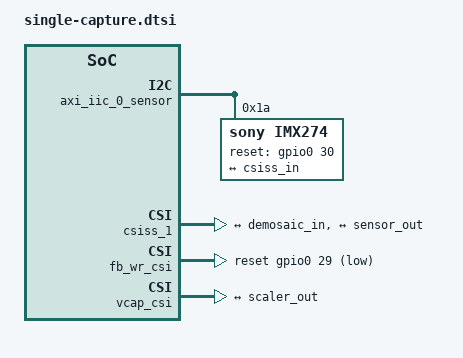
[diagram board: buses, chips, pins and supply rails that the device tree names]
#include <dt-bindings/media/xilinx-vip.h>

/ {
	amba_pl: amba_pl@0 {
		#address-cells = <2>;
		#size-cells = <2>;
		compatible = "simple-bus";
		ranges ;

		axi_iic_0_sensor: i2c@a4070000 {
			#address-cells = <1>;
			#size-cells = <0>;
			compatible = "xlnx,axi-iic-2.0", "xlnx,xps-iic-2.00.a";
		        interrupt-names = "iic2intc_irpt";
			interrupt-parent = <&gic>;
			interrupts = <0 91 4>;
			reg = <0x0 0xa4070000 0x0 0x10000>;
		        clock-names = "s_axi_aclk";
			clocks = <&misc_clk_4>;

			imx274: sensor@1a{
				compatible = "sony,imx274";
				reg = <0x1a>;
				#address-cells = <1>;
				#size-cells = <0>;
				reset-gpios = <&gpio0 30 0>;

				port@0 {
					reg = <0>;

					sensor_out: endpoint {
						remote-endpoint = <&csiss_in>;
					};
				};
			};
		};

		csiss_1: csiss@a4060000 {
			compatible = "xlnx,mipi-csi2-rx-subsystem-5.0";
			reg = <0x0 0xa4060000 0x0 0x10000>;
			clock-names = "lite_aclk", "dphy_clk_200M", "video_aclk";
			clocks = <&misc_clk_4>, <&misc_clk_5>, <&misc_clk_0>;
			interrupt-parent = <&gic>;
			interrupts = <0 90 4>;

			xlnx,csi-pxl-format = "RAW10";
			xlnx,axis-tdata-width = <0x20>;
			xlnx,max-lanes = <0x4>;
			xlnx,en-active-lanes;
			xlnx,vc = <0x4>;
			xlnx,ppc = <0x4>;
			xlnx,vfb;

			ports {
				#address-cells = <1>;
				#size-cells = <0>;

				port@0 {
					reg = <0>;

					xlnx,video-format = <XVIP_VF_MONO_SENSOR>;
					xlnx,video-width = <8>;
					xlnx,cfa-pattern = "rggb";

					csiss_out: endpoint {
						remote-endpoint = <&demosaic_in>;
					};
				};
				port@1 {
					reg = <1>;

					xlnx,video-format = <XVIP_VF_MONO_SENSOR>;
					xlnx,video-width = <8>;
					xlnx,cfa-pattern = "rggb";

					csiss_in: endpoint {
						data-lanes = <1 2 3 4>;
						remote-endpoint = <&sensor_out>;
					};
				};
			};
		};

		v_demosaic_0: v_demosaic@a40c0000 {
			compatible = "xlnx,v-demosaic";
			reg = <0x0 0xa40c0000 0x0 0x10000>;
			clocks = <&misc_clk_0>;
			reset-gpios = <&gpio0 27 1>;
			xlnx,max-width = <3840>;
			xlnx,max-height = <2160>;

			ports {
				#address-cells = <1>;
				#size-cells = <0>;

				port@0 {
					reg = <0>;

					xlnx,video-width = <8>;
					xlnx,cfa-pattern = "rggb";

					demosaic_in: endpoint {
						remote-endpoint = <&csiss_out>;
					};
				};

				port@1 {
					reg = <1>;

					xlnx,video-width = <8>;

					demosaic_out: endpoint {
						remote-endpoint = <&scaler_in>;
					};
				};
			};
		};

		scaler_1: scaler@a4080000 {
			compatible = "xlnx,v-vpss-scaler-2.2";
			reg = <0x0 0xa4080000 0x0 0x40000>;
			clock-names = "aclk_axis", "aclk_ctrl";
			clocks = <&misc_clk_0>, <&misc_clk_0>;
			xlnx,num-hori-taps = <6>;
			xlnx,num-vert-taps = <6>;
			xlnx,pix-per-clk = <4>;
			reset-gpios = <&gpio0 28 1>;
			xlnx,max-width = <3840>;
			xlnx,max-height = <2160>;

			ports {
				#address-cells = <1>;
				#size-cells = <0>;

				port@0 {
					reg = <0>;
					xlnx,video-format = <XVIP_VF_RBG>;
					xlnx,video-width = <8>;

					scaler_in: endpoint {
						remote-endpoint = <&demosaic_out>;
					};
				};
				port@1 {
					reg = <1>;
					xlnx,video-format = <XVIP_VF_YUV_422>;
					xlnx,video-width = <8>;

					scaler_out: endpoint {
						remote-endpoint = <&vcap_csi_in>;
					};
				};
			};
		};

		fb_wr_csi: fb_wr@a40d0000 {
			compatible = "xlnx,axi-frmbuf-wr-v2.1";
			reg = <0x0 0xa40d0000 0x0 0x10000>;
			#dma-cells = <1>;
			interrupt-parent = <&gic>;
			interrupts = <0 92 4>;
			xlnx,vid-formats = "yuyv", "bgr888";
			reset-gpios = <&gpio0 29 1>;
			xlnx,dma-addr-width = <64>;
			xlnx,pixels-per-clock = <4>;
			xlnx,max-width = <3840>;
			xlnx,max-height = <2160>;
			clocks = <&misc_clk_0>;
			clock-names = "ap_clk";
		};

		vcap_csi {
			compatible = "xlnx,video";
			dmas = <&fb_wr_csi 0>;
			dma-names = "port0";

			ports {
				#address-cells = <1>;
				#size-cells = <0>;

				port@0 {
					reg = <0>;
					direction = "input";

					vcap_csi_in: endpoint {
						remote-endpoint = <&scaler_out>;
					};
				};
			};
		};
	};
};
